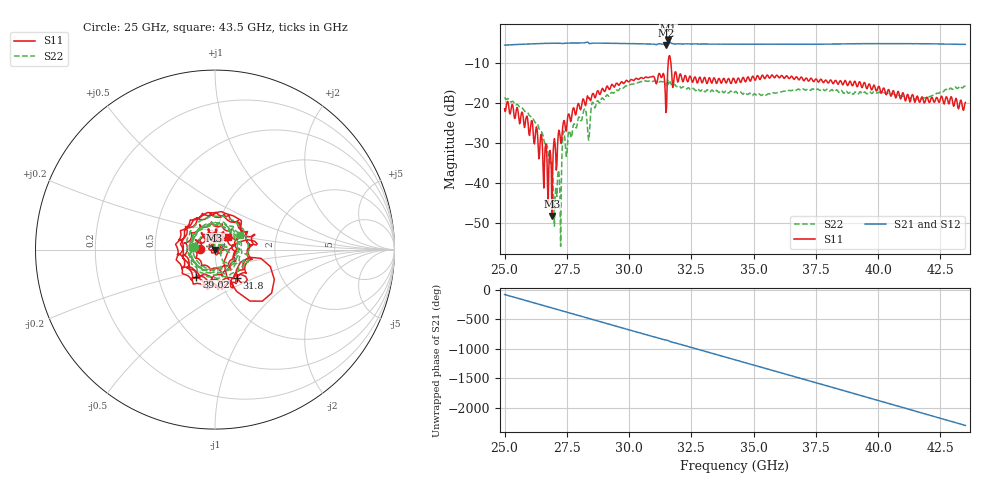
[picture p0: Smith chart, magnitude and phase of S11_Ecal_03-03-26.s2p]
!Keysight Technologies,N5224A,MY55441802,A.10.65.16
!Date: Tuesday, March 03, 2026 15:14:56
!Correction: S11(Full 2 Port(1,2))
!S21(Full 2 Port(1,2))
!S12(Full 2 Port(1,2))
!S22(Full 2 Port(1,2))
!S2P File: Measurements: S11, S21, S12, S22:
# Hz S  dB  R 50
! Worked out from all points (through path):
!   741 points, 25 GHz to 43.5 GHz, reference 50 ohm
!   highest |S21| = -4.22 dB at 31.57 GHz (marker M1); lowest = -5.5 dB at 31.48 GHz (marker M2)
!   group delay of S21, straight-line fit = 332 ps
!   lowest |S11| = -48.4 dB at 26.9 GHz (marker M3), VSWR 1.01, Z = 49.7 - j0.263 ohm
!   |S11| at or under -10 dB: start of sweep to 31.57 GHz; 31.68 GHz to end of sweep
!   |S22| runs from -55.9 to -14.1 dB; largest |S21 - S12| = 0.0077
!   S11 on the Smith chart (normalised r, x): 25 GHz: 0.84, +0.01; 31.8 GHz: 1.21, -0.40; 39.02 GHz: 0.78, -0.24; 43.5 GHz: 1.15, +0.16
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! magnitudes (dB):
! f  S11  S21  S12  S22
! 25 GHz  -21.4  -5.4  -5.4  -18.5
! 26.3 GHz  -26.4  -5.0  -5.0  -25.0
! 26.82 GHz  -31.9  -4.9  -4.9  -34.9
! 26.9 GHz  -48.4  -4.9  -4.9  -35.2
! 27.02 GHz  -30.2  -4.9  -4.9  -44.0
! 27.12 GHz  -30.7  -4.9  -4.9  -38.6
! 27.23 GHz  -28.1  -4.9  -4.9  -44.1
! 27.38 GHz  -24.3  -5.0  -5.0  -27.0
! 28.1 GHz  -20.3  -4.9  -4.9  -24.2
! 28.23 GHz  -20.3  -4.8  -4.8  -21.3
! 28.38 GHz  -18.8  -4.9  -4.8  -29.3
! 28.55 GHz  -17.5  -4.9  -4.9  -19.8
! 31.18 GHz  -12.9  -5.1  -5.0  -14.6
! 31.48 GHz  -22.3  -5.5  -5.5  -15.6
! 31.57 GHz  -9.2  -4.2  -4.2  -15.3
! 31.62 GHz  -8.0  -4.4  -4.4  -14.8
! 31.8 GHz  -13.9  -5.1  -5.1  -15.2
! 34.25 GHz  -14.6  -5.2  -5.1  -17.1
! 37.35 GHz  -14.1  -5.2  -5.2  -16.4
! 39.02 GHz  -14.7  -5.1  -5.1  -17.5
! 40.42 GHz  -16.5  -5.0  -5.0  -17.4
! 43.5 GHz  -19.8  -5.2  -5.2  -15.8
